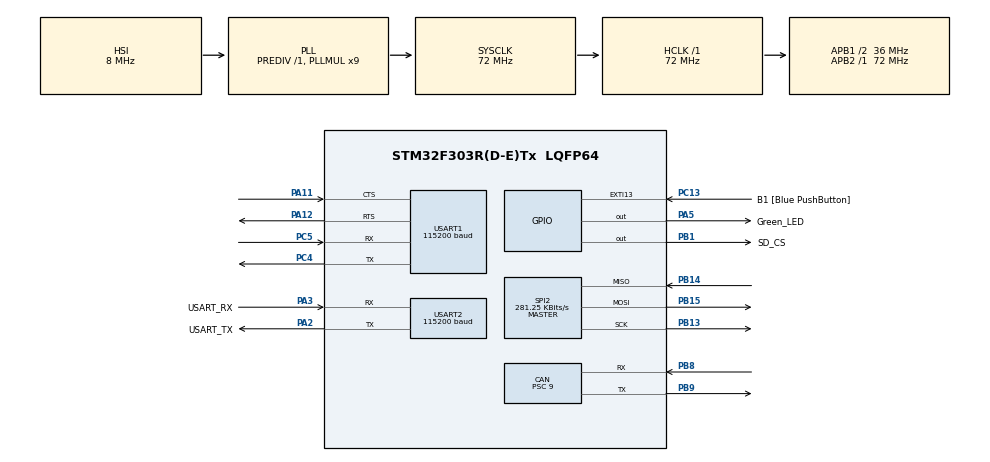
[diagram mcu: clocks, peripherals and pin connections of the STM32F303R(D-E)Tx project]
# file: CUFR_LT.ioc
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CAN.BS1=CAN_BS1_13TQ
CAN.BS2=CAN_BS2_2TQ
CAN.CalculateBaudRate=250000
CAN.CalculateTimeBit=4000
CAN.CalculateTimeQuantum=250.0
CAN.Prescaler=9
Mcu.Family=STM32F3
Mcu.Name=STM32F303R(D-E)Tx
Mcu.Package=LQFP64
NVIC.PriorityGroup=NVIC_PRIORITYGROUP_0
PA11.Mode=CTS_RTS
PA11.Signal=USART1_CTS
PA12.Mode=CTS_RTS
PA12.Signal=USART1_RTS
PA13.GPIO_Label=TMS
PA13.Mode=Serial_Wire
PA13.Signal=SYS_JTMS-SWDIO
PA14.GPIO_Label=TCK
PA14.Mode=Serial_Wire
PA14.Signal=SYS_JTCK-SWCLK
PA2.GPIO_Label=USART_TX
PA2.GPIO_Mode=GPIO_MODE_AF_PP
PA2.GPIO_PuPd=GPIO_NOPULL
PA2.GPIO_Speed=GPIO_SPEED_FREQ_LOW
PA2.Mode=Asynchronous
PA2.Signal=USART2_TX
PA3.GPIO_Label=USART_RX
PA3.GPIO_Mode=GPIO_MODE_AF_PP
PA3.GPIO_PuPd=GPIO_NOPULL
PA3.GPIO_Speed=GPIO_SPEED_FREQ_LOW
PA3.Mode=Asynchronous
PA3.Signal=USART2_RX
PA5.GPIO_Label=Green_LED
PA5.GPIO_Mode=GPIO_MODE_OUTPUT_PP
PA5.GPIO_PuPd=GPIO_NOPULL
PA5.GPIO_Speed=GPIO_SPEED_FREQ_LOW
PA5.Signal=GPIO_Output
PB1.GPIO_Label=SD_CS
PB1.Signal=GPIO_Output
PB13.Mode=Full_Duplex_Master
PB13.Signal=SPI2_SCK
PB14.Mode=Full_Duplex_Master
PB14.Signal=SPI2_MISO
PB15.Mode=Full_Duplex_Master
PB15.Signal=SPI2_MOSI
PB3.GPIO_Label=SWO
PB3.Signal=SYS_JTDO-TRACESWO
PB8.Mode=CAN_Activate
PB8.Signal=CAN_RX
PB9.Mode=CAN_Activate
PB9.Signal=CAN_TX
PC13.GPIO_Label=B1 [Blue PushButton]
PC13.GPIO_ModeDefaultEXTI=GPIO_MODE_IT_FALLING
PC13.Signal=GPXTI13
PC14-OSC32_IN.Mode=LSE-External-Oscillator
PC14-OSC32_IN.Signal=RCC_OSC32_IN
PC15-OSC32_OUT.Mode=LSE-External-Oscillator
PC15-OSC32_OUT.Signal=RCC_OSC32_OUT
PC4.Mode=Asynchronous
PC4.Signal=USART1_TX
PC5.Mode=Asynchronous
PC5.Signal=USART1_RX
PF0-OSC_IN.Mode=HSE-External-Clock-Source
PF0-OSC_IN.Signal=RCC_OSC_IN
PF1-OSC_OUT.Signal=RCC_OSC_OUT
ProjectManager.HeapSize=0x200
ProjectManager.StackSize=0x400
ProjectManager.TargetToolchain=STM32CubeIDE
RCC.AHBFreq_Value=72000000
RCC.APB1CLKDivider=RCC_HCLK_DIV2
RCC.APB1Freq_Value=36000000
RCC.APB1TimFreq_Value=72000000
RCC.APB2Freq_Value=72000000
RCC.APB2TimFreq_Value=72000000
RCC.CortexFreq_Value=72000000
RCC.HCLKFreq_Value=72000000
RCC.HSE_VALUE=8000000
RCC.HSI_VALUE=8000000
RCC.PLLM=8
RCC.PLLMUL=RCC_PLL_MUL9
RCC.PLLN=336
RCC.PLLP=RCC_PLLP_DIV4
RCC.PLLQ=7
RCC.RCC_PLLsource_Clock_Source_FROM_HSE=RCC_HSE_PREDIV_DIV2
RCC.SYSCLKFreq_VALUE=72000000
RCC.SYSCLKSourceVirtual=RCC_SYSCLKSOURCE_PLLCLK
RCC.USBFreq_Value=72000000
SPI2.BaudRatePrescaler=SPI_BAUDRATEPRESCALER_128
SPI2.CalculateBaudRate=281.25 KBits/s
SPI2.DataSize=SPI_DATASIZE_8BIT
SPI2.Direction=SPI_DIRECTION_2LINES
SPI2.Mode=SPI_MODE_MASTER
SPI2.VirtualType=VM_MASTER
USART1.BaudRate=115200
USART1.VirtualMode-Asynchronous=VM_ASYNC
USART2.BaudRate=115200
USART2.VirtualMode-Asynchronous=VM_ASYNC
VP_FATFS_VS_Generic.Mode=User_defined
board=NUCLEO-F303RE

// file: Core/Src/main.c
/* USER CODE BEGIN Header */
/**
  ******************************************************************************
  * @file           : main.c
  * @brief          : Main program body
  ******************************************************************************
  * @attention
  *
  * Copyright (c) 2025 STMicroelectronics.
  * All rights reserved.
  *
  * This software is licensed under terms that can be found in the LICENSE file
  * in the root directory of this software component.
  * If no LICENSE file comes with this software, it is provided AS-IS.
  *
  ******************************************************************************
  */
/* USER CODE END Header */
#include "main.h"
#include "fatfs.h"

/* USER CODE BEGIN Includes */
#include <stdio.h>
#include <stdint.h>
#include <string.h> //for myprintf
#include <stdarg.h> //for myprintf
/* USER CODE END Includes */

/* USER CODE BEGIN PTD */
struct can_msg {
    uint16_t id; //2 bytes
    unsigned char pkt; //1 byte
    uint8_t start; //start byte in the packet, 1 byte
    uint8_t len; //number of bytes of data, 1 byte
    unsigned char bits[3]; //3 bytes (1 bit for whether each bytes enabled--max payload = 22 bytes --> 3 needed)
    uint8_t lts; //number of bytes to send, 1 byte
    uint8_t idx;
};

struct msg_type {
    unsigned char id; //1 byte
    uint8_t data_len; //in bytes, 1 byte
    int speed; //speed to send in ms
    uint8_t num_messages;
    int len;
};

/* USER CODE END PTD */

CAN_HandleTypeDef hcan;

SPI_HandleTypeDef hspi2;

UART_HandleTypeDef huart1;
UART_HandleTypeDef huart2;

/* USER CODE BEGIN PV */
HAL_StatusTypeDef ok_notok = HAL_BUSY;
uint8_t CMD0 [] = {0x40,0x00,0x00, 0x00, 0x00, 0x95};
uint8_t high [] = {0xFF, 0xFF, 0xFF, 0xFF, 0xFF, 0xFF, 0xFF, 0xFF, 0xFF, 0xFF};
uint8_t CMD1 [] = {0x41,0x00,0x00, 0x00, 0x00, 0x79};
uint8_t CMD8 [] = {0x48, 0x00, 0x00, 0x01, 0xAA, 0x87};
uint8_t CMD55 [] = {0x77, 0x00, 0x00, 0x00, 0x00, 0x65};
uint8_t ACMD41 [] = {0x69, 0x40, 0x00, 0x00, 0x00, 0x77};
uint8_t highByte [] = {0xFF};

uint8_t CMD0_Response [2]; //8 (max wait) + 2 (payload)
uint8_t CMD1_Response [2];
uint8_t CMD8_Response [7];
uint8_t CMD55_Response [2];
uint8_t ACMD41_Response [2];
int count = 0;

CAN_RxHeaderTypeDef   RxHeader;
uint8_t               RxData[8];
/* USER CODE END PV */

void SystemClock_Config(void);
static void MX_GPIO_Init(void);
static void MX_USART2_UART_Init(void);
static void MX_CAN_Init(void);
static void MX_USART1_UART_Init(void);
static void MX_SPI2_Init(void);
/* USER CODE BEGIN PFP */
void myprintf(const char *fmt, ...);
int process_line(char* msg, struct can_msg* msg_table, int counter);
void get_msg_type_details(char* buffer);
int acdm55(void);
void configure_sd(void);
/* USER CODE END PFP */

/* USER CODE BEGIN 0 */
void myprintf(const char *fmt, ...) {
  static char buffer[256];
  va_list args;
  va_start(args, fmt);
  vsnprintf(buffer, sizeof(buffer), fmt, args);
  va_end(args);

  int len = strlen(buffer);
  HAL_UART_Transmit(&huart2, (uint8_t*)buffer, len, -1);

}

int acdm55(void) {
	ok_notok = HAL_SPI_Transmit(&hspi2, highByte, 1, 1000);
	ok_notok = HAL_SPI_Transmit(&hspi2, highByte, 1, 1000);
	ok_notok = HAL_SPI_Transmit(&hspi2, CMD55, 6, 1000); //Sending in Blocking mode
		HAL_Delay(10);
		HAL_SPI_Receive(&hspi2, CMD55_Response, 2, 1000);
		//HAL_Delay(1000);
		count = 0;
		while(count < 20 && CMD55_Response[0] != 0x0 && CMD55_Response[1] != 0x1){
				count++;
				for(int i = 0; i<2; i++){
							  myprintf("(%x)", CMD55_Response[i]);
						  }
				myprintf("\r\n");
			  ok_notok = HAL_SPI_Transmit(&hspi2, CMD55, 6, 1000); //Sending in Blocking mode
			  HAL_Delay(10);
			  HAL_SPI_Receive(&hspi2, CMD55_Response, 2, 1000);
		}
		if(count == 20){
			//myprintf("CMD 55 Timeout \r\n");
				return 0;
			}
		myprintf("CMD55: ");
		for(int i = 0; i<2; i++){
				  myprintf("(%x)", CMD55_Response[i]);
			  }
		myprintf("\r\n");
		ok_notok = HAL_SPI_Transmit(&hspi2, highByte, 1, 1000);
		ok_notok = HAL_SPI_Transmit(&hspi2, highByte, 1, 1000);
		//ACMD41
		ok_notok = HAL_SPI_Transmit(&hspi2, ACMD41, 6, 1000); //Sending in Blocking mode
		HAL_Delay(100);
		HAL_SPI_Receive(&hspi2, ACMD41_Response, 2, 1000);
		count = 0;
		if(ACMD41_Response[0] != 0x0 && ACMD41_Response[1] != 0x0)
		{
			myprintf("ACMD41 Fail once: ");
			for(int i = 0; i<2; i++){
				myprintf("(%x)", ACMD41_Response[i]);
			}
			myprintf("\r\n");
			return 0;
		}
		myprintf("ACMD41: ");
		for(int i = 0; i<2; i++){
				  myprintf("(%x)", ACMD41_Response[i]);
			  }
		myprintf("\r\n");
		return 1;
}

void configure_sd(void) {

	HAL_GPIO_WritePin(GPIOB, SD_CS_Pin, SET);
	ok_notok = HAL_SPI_Transmit(&hspi2, high, 10, 1000); //Sending in Blocking mode
	HAL_GPIO_WritePin(GPIOB, SD_CS_Pin, RESET);
	//HAL_GPIO_WritePin(GPIOA, Green_LED_Pin, SET);
	//		  ok_notok = HAL_UART_Transmit(&huart2, (uint8_t *)hw, len, 100);

	//CMD0:
	ok_notok = HAL_SPI_Transmit(&hspi2, CMD0, 6, 1000); //Sending in Blocking mode
	HAL_Delay(100);
	HAL_SPI_Receive(&hspi2, CMD0_Response, 2, 1000);
	count = 0;
	while(CMD0_Response[1] != 0x1 && count < 20){
	  count++;
	  myprintf("0 Failed once: \r\n");
	  ok_notok = HAL_SPI_Transmit(&hspi2, CMD0, 6, 1000); //Sending in Blocking mode
	  HAL_Delay(100);
	  HAL_SPI_Receive(&hspi2, CMD0_Response, 2, 1000);
	}
	if(count == 20){
		myprintf("Timeout \r\n");
		return;
	}
	myprintf("CMD0: ");
	for(int i = 0; i<2; i++){
			  myprintf("(%x)", CMD0_Response[i]);
		  }
	myprintf("\r\n");
	//HAL_Delay(100);
	ok_notok = HAL_SPI_Transmit(&hspi2, highByte, 1, 1000);
	ok_notok = HAL_SPI_Transmit(&hspi2, highByte, 1, 1000);

	//CMD8:
	ok_notok = HAL_SPI_Transmit(&hspi2, CMD8, 6, 1000); //Sending in Blocking mode
	HAL_Delay(100);
	HAL_SPI_Receive(&hspi2, CMD8_Response, 7, 1000);
	//HAL_Delay(1000);
	count = 0;
	while(count < 20 && (CMD8_Response[1] != 0x1 || CMD8_Response[5] != 0xAA)){
			count++;
			  myprintf("8 Failed once: \r\n");
			  for(int i = 0; i<7; i++){
			  			  myprintf("(%x)", CMD8_Response[i]);
			  		  }
			  ok_notok = HAL_SPI_Transmit(&hspi2, CMD8, 6, 1000); //Sending in Blocking mode
			  HAL_Delay(100);
			  HAL_SPI_Receive(&hspi2, CMD8_Response, 7, 1000);
	}
	if(count == 20){
		myprintf("Timeout \r\n");
			return;
		}
	myprintf("CMD8: ");
	for(int i = 0; i<7; i++){
			  myprintf("(%x)", CMD8_Response[i]);
		  }
	myprintf("\r\n");
	ok_notok = HAL_SPI_Transmit(&hspi2, highByte, 1, 1000);
	ok_notok = HAL_SPI_Transmit(&hspi2, highByte, 1, 1000);

	//CMD55:
	int counter = 0;
	int worked = acdm55();
	myprintf("Worked: (%i)\r\n", worked);
	while(worked == 0 && counter<20){
			worked = acdm55();
			//myprintf("Worked: (%i)\r\n", worked);
			counter++;
			//myprintf("Count: (%x)\r\n", count);
			if(worked==1){
				myprintf("yay!\r\n");
			}
	}
	myprintf("Count: %i\r\n", counter);
	myprintf("Worked: %i\r\n", worked);
	if(counter==20){
		myprintf("Timeout\r\n");
		return;
	}

	myprintf("End of Start Up\r\n");
	if(ok_notok == HAL_OK){
	  HAL_GPIO_WritePin(GPIOA, Green_LED_Pin, SET);
	}
	HAL_Delay(1000);
	HAL_GPIO_WritePin(GPIOA, Green_LED_Pin, RESET);
	HAL_GPIO_WritePin(GPIOB, SD_CS_Pin, SET);
}

struct msg_type med;
struct msg_type fast;
struct msg_type stat;

int process_line(char* msg, struct can_msg* msg_table, int counter) {
    struct can_msg M = { 0 };
    M.id = 0;
    M.id |= msg[0] << 8;
    M.id |= msg[1];
    M.pkt = msg[2];
    M.start = msg[3];
    M.len = msg[4];
    M.bits[0] = msg[5];
    M.bits[1] = msg[6];
    M.bits[2] = msg[7];
    M.lts = msg[8];
    M.idx = msg[9];
    msg_table[counter] = M;
    return counter++;
}

void get_msg_type_details(char* buffer) {
    uint8_t s;

    //Get the details for the medium speed message
    med.id = buffer[1];
    med.data_len = buffer[2];
    s = buffer[3];
    med.speed = 10 * (int)s;
    med.num_messages = buffer[4];
    med.len = med.data_len + 3;

    myprintf("Med\r\n");
    myprintf("id: %c\r\n", med.id);
    myprintf("data_len: %u\r\n", med.data_len);
    myprintf("speed: %i\r\n", med.speed);
    myprintf("num_messages: %u\r\n", med.num_messages);

    //Get the details for the fast speed message
    fast.id = buffer[5];
    fast.data_len = buffer[6];
    s = buffer[7];
    fast.speed = 10 * (int)s;
    fast.num_messages = buffer[8];
    fast.len = fast.data_len + 3;

    myprintf("Fast\r\n");
    myprintf("id: %c\r\n", fast.id);
    myprintf("data_len: %u\r\n", fast.data_len);
    myprintf("speed: %i\r\n", fast.speed);
    myprintf("num_messages: %u\r\n", fast.num_messages);

    //Get the details for the stat speed message
    stat.id = buffer[9];
    stat.data_len = buffer[10];
    s = buffer[11];
    stat.speed = 10 * (int)s;
    stat.num_messages = buffer[12];
    stat.len = stat.data_len + 3;

    myprintf("Stat\r\n");
    myprintf("id: %c\r\n", stat.id);
    myprintf("data_len: %u\r\n", stat.data_len);
    myprintf("speed: %i\r\n", stat.speed);
    myprintf("num_messages: %u\r\n", stat.num_messages);
}

/* USER CODE END 0 */

int main(void)
{

  /* MCU Configuration--------------------------------------------------------*/

  /* Reset of all peripherals, Initializes the Flash interface and the Systick. */
  HAL_Init();

  /* Configure the system clock */
  SystemClock_Config();

  /* Initialize all configured peripherals */
  MX_GPIO_Init();
  MX_USART2_UART_Init();
  MX_CAN_Init();
  MX_USART1_UART_Init();
  MX_SPI2_Init();
  MX_FATFS_Init();
  /* USER CODE BEGIN 2 */
  myprintf("\r\n~ Starting LT~\r\n\r\n");
  configure_sd();
  HAL_Delay(1000); //a short delay is important to let the SD card settle
  //some variables for FatFs
  FATFS FatFs; 	//Fatfs handle
  FIL fil; 		//File handle
  FRESULT fres; //Result after operations

  //Set Up CAN
  CAN_FilterTypeDef canfilterconfig;
  canfilterconfig.FilterActivation = CAN_FILTER_ENABLE;
  canfilterconfig.FilterBank = 8;  // which filter bank to use from the assigned ones
  canfilterconfig.FilterFIFOAssignment = CAN_FILTER_FIFO0;
  canfilterconfig.FilterIdHigh = 0x446<<5;
  canfilterconfig.FilterIdLow = 0;
  canfilterconfig.FilterMaskIdHigh = 0x0000;
  canfilterconfig.FilterMaskIdLow = 0x0000;
  canfilterconfig.FilterMode = CAN_FILTERMODE_IDMASK;
  canfilterconfig.FilterScale = CAN_FILTERSCALE_32BIT;
  canfilterconfig.SlaveStartFilterBank = 14;  // how many filters to assign to the CAN1 (master can)

  HAL_CAN_ConfigFilter(&hcan, &canfilterconfig);
  HAL_StatusTypeDef ret = HAL_CAN_Start(&hcan);
  if(ret != HAL_OK){
  	  myprintf("\rinit error\r\n\r\n");
    }
    else
    {
  	  myprintf("\rinitialised\r\n\r\n");
    }

  //Open the file system
  myprintf("\r\nInitialising SD CARD\r\n\r\n");
  int init_tries = 0;
  fres = f_mount(&FatFs, "", 1); //1=mount now
  while(fres != FR_OK && init_tries<5){
	myprintf("Trying Again\r\n");
	init_tries++;
	fres = f_mount(&FatFs, "", 1); //1=mount now
  }
  if (fres != FR_OK) {
	myprintf("f_mount error (%i)\r\n", fres);
	while(1){
		HAL_GPIO_TogglePin(GPIOA, Green_LED_Pin);
		HAL_Delay(500);
		HAL_GPIO_TogglePin(GPIOA, Green_LED_Pin);
		HAL_Delay(100);
	}
  }
  myprintf("\r\nSD CARD Initialised!\r\n\r\n");

  char buffer[255];
  char *filename = "settings.bin";

  fres = f_open(&fil, filename, FA_READ);
  if (fres != FR_OK) {
	myprintf("f_open error (%i)\r\n", fres);
	myprintf("unable to open file");
  }
  else{
	myprintf("Settings File opened!\r\n");
  }

  //get number of messages
  UINT bytes_read;
  fres = f_read(&fil, buffer, 13, &bytes_read);
  if(bytes_read == 0) {
	myprintf("f_read error (%i)\r\n", fres);
  }
  uint8_t num_msgs = buffer[0];
  myprintf("num messages: %u\r\n", num_msgs);

  struct can_msg table[num_msgs];
  //Get message types
  get_msg_type_details(buffer);

  //get individual message details
  myprintf("Getting individual msg details\r\n");
  for (int counter = 0; counter < num_msgs; counter++) {
      f_read(&fil, buffer, 10, &bytes_read);
      process_line(buffer, table, counter);
  }
  f_close(&fil);

  myprintf("\r\nMessage Information Loaded\r\n");

  /* USER CODE END 2 */

  /* Infinite loop */
  /* USER CODE BEGIN WHILE */

  //remove once CAN works
//  filename = "fake_can.bin";
//  fres = f_open(&fil, filename, FA_READ);
//	if (fres != FR_OK) {
//		myprintf("f_open error (%i)\r\n", fres);
//		myprintf("unable to open fake messages file");
//	}
//	else{
//		myprintf("Msg File opened!\r\n");
//	}
//
//    //get number of messages
//    fres = f_read(&fil, buffer, 1, &bytes_read);
//    if(bytes_read == 0) {
//  	myprintf("f_read error (%i)\r\n", fres);
//    }
//    uint8_t num_csv_msgs = buffer[0];
//    myprintf("num messages: %u\r\n", num_csv_msgs);

    //int msg_ctr = 0;
    struct can_msg msg_type;
    struct can_msg null_msg;
    null_msg.id = 0;
    uint32_t fill_level = 0;

    uint32_t stat_last_time = HAL_GetTick();
    uint32_t fast_last_time = HAL_GetTick();
    uint32_t med_last_time = HAL_GetTick();
    uint32_t curr_time;

    uint8_t stat_pkt[stat.data_len+3];
    uint8_t stat_pkt_last[stat.data_len+3];
    stat_pkt[0] = stat.id;
    uint8_t med_pkt[med.data_len+3];
    med_pkt[0] = med.id;
    uint8_t fast_pkt[fast.data_len+3];
    fast_pkt[0] = fast.id;

    uint8_t *curr_pkt;
    uint8_t send_stat = 0;

    stat_pkt[1] = stat_pkt[2] = 0;
    med_pkt[1] = med_pkt[2] = 0;
    fast_pkt[1] = fast_pkt[2] = 0;

  while (1)
  {
	  //	  - check whether there are any CAN messages to be read
	  //	  	  - read a message
	  //	  	  - get the header and search to find the appropriate message (done)
	  //	  	  - add to the relevant packet. Mark bit as being updated
	  //	  	  if(is stat or time since last stat sent > stat time):
	  //	  	  - Send stat
	  //	  	  if(time since last fast sent > fast time):
	  //	  	  - send fast
	  //	  	  -if(time since last med sent > med time):
	  //	  	  - send med
	  //	  	  repeat;

//	  myprintf("Next msg\r\n");
//	  fres = f_read(&fil, buffer, 16, &bytes_read);
//	  if(bytes_read == 0) {
//		myprintf("f_read error (%i)\r\n", fres);
//	  }
//
//	  RxHeader.StdId = 0;
//	  RxHeader.StdId |= buffer[0] << 24;
//	  RxHeader.StdId |= buffer[1] << 16;
//	  RxHeader.StdId |= buffer[2] << 8;
//	  RxHeader.StdId |= buffer[3];
//
//	  RxHeader.DLC = 0;
//	  RxHeader.DLC |= buffer[4] << 24;
//	  RxHeader.DLC |= buffer[5] << 16;
//	  RxHeader.DLC |= buffer[6] << 8;
//	  RxHeader.DLC |= buffer[7];
//
//	  for(int idx = 0; idx<RxHeader.DLC; idx++){
//		 RxData[idx] = buffer[8+idx];
//	  }
//
//	  myprintf("(%x) (%i) ", RxHeader.StdId, RxHeader.DLC);
//	  for(int idx = 0; idx<RxHeader.DLC; idx++){
//		  myprintf("(%x)", RxData[idx]);
//	  	  }
//	  myprintf("\r\n");

	  fill_level = HAL_CAN_GetRxFifoFillLevel(&hcan, CAN_RX_FIFO0);
	  if(fill_level !=0){
		 if (HAL_CAN_GetRxMessage(&hcan, CAN_RX_FIFO0, &RxHeader, RxData) != HAL_OK)
		 {
				 myprintf("No msg found\r\n\r\n");
		  }else {

		  //Check which message was received
		  	  msg_type = null_msg;
		  	  for(int idx =0; idx<num_msgs; idx++){
		  		  if(RxHeader.StdId == table[idx].id){
		  			  msg_type = table[idx];
		  			  break;
		  		  }
		  	  }

		  	  if(msg_type.id != 0)
		  	  {
		  		  myprintf("(%x) (%c)\r\n", msg_type.id, msg_type.pkt);
		  	  }
		  	  else{
		  		  myprintf("Corresponding message not found\r\n");
		  	  }

		  	  curr_pkt = NULL;

		  	  //Sets the curr_pkt pointer to the correct packet
		  	  if(msg_type.pkt == fast.id)
		  	  {
		  		  curr_pkt = fast_pkt;
		  	  } else if(msg_type.pkt == med.id){
		  		  curr_pkt = med_pkt;
		  	  } else if(msg_type.pkt == stat.id){
		  		  curr_pkt = stat_pkt;
		  	  }

		  	  //Check if the stat_pkt has changed
		  	  if(msg_type.pkt == stat.id){
		  		  for(int idx = 0; idx<msg_type.lts; idx++){
		  			  if(curr_pkt[msg_type.start+idx] != stat_pkt_last[idx])
		  			  {
		  				  send_stat = 1;
		  				  myprintf("Stat changed!!\r\n");
		  			  }
		  		  }
		  	  }

		  	  //Marks the set bit
		  	  if(curr_pkt != NULL && msg_type.idx < 8){
		  		  curr_pkt[1] |= 1U << (7-msg_type.idx);
		  		  //myprintf("1(%u)\r\n", curr_pkt[1]);
		  	  } else if (curr_pkt != NULL){
		  		  curr_pkt[2] |= 1U << (15-msg_type.idx);
		  		  //myprintf("2(%u)\r\n", curr_pkt[2]);
		  	  }

		  	  //Adds the message's data to the packet
		  	  if(curr_pkt != NULL){
		  		  for(int idx = 0; idx<msg_type.lts; idx++){
		  			  curr_pkt[msg_type.start+idx] = RxData[idx];
		  		  }
		  	  }
		  }
	  }

	  //Checks which messages to send
	  curr_time = HAL_GetTick();
	  if(send_stat == 1 || curr_time - stat_last_time > stat.speed*100){
		  send_stat = 0;
		  ok_notok = HAL_UART_Transmit(&huart1, stat_pkt, stat.data_len+3, 100);
		  for(int idx = 0; idx<stat.data_len+3; idx++){
		  			  myprintf("%2x", stat_pkt[idx]);
		  		  }
		  myprintf("\r\n");
		  myprintf("lts: (%i)\r\n", stat.data_len+3);
		  myprintf("Stat sent!!\r\n");
		  stat_pkt[1] = 0;
		  stat_pkt[2] = 0;
		  stat_last_time = curr_time;
	  }

	  if(curr_time - fast_last_time > fast.speed*100){
		  ok_notok = HAL_UART_Transmit(&huart1, fast_pkt, fast.data_len+3, 100);
		  for(int idx = 0; idx<fast.data_len+3; idx++){
			  myprintf("%2x", fast_pkt[idx]);
		  }
		  myprintf("\r\n");
		  myprintf("Fast sent!!\r\n");
		  med_pkt[1] = 0;
		  med_pkt[2] = 0;
		  fast_last_time = curr_time;
	  }

	  if(curr_time - med_last_time > med.speed*100){
		  ok_notok = HAL_UART_Transmit(&huart1, med_pkt, med.data_len+3, 100);
		  med_pkt[1] = 0;
		  med_pkt[2] = 0;
		  med_last_time = curr_time;
	  }

	  //Remove once CAN works
//	  	  msg_ctr++;
//	  	  if(msg_ctr == num_csv_msgs)
//	  	  {
//	  		msg_ctr = 0;
//	  		fres = f_lseek(&fil, 1);
//	  	  }
//	  	  HAL_Delay(1000);
    /* USER CODE END WHILE */

  }
}

void SystemClock_Config(void)
{
  RCC_OscInitTypeDef RCC_OscInitStruct = {0};
  RCC_ClkInitTypeDef RCC_ClkInitStruct = {0};
  RCC_PeriphCLKInitTypeDef PeriphClkInit = {0};

  /** Initializes the RCC Oscillators according to the specified parameters
  * in the RCC_OscInitTypeDef structure.
  */
  RCC_OscInitStruct.OscillatorType = RCC_OSCILLATORTYPE_HSI;
  RCC_OscInitStruct.HSIState = RCC_HSI_ON;
  RCC_OscInitStruct.HSICalibrationValue = RCC_HSICALIBRATION_DEFAULT;
  RCC_OscInitStruct.PLL.PLLState = RCC_PLL_ON;
  RCC_OscInitStruct.PLL.PLLSource = RCC_PLLSOURCE_HSI;
  RCC_OscInitStruct.PLL.PLLMUL = RCC_PLL_MUL9;
  RCC_OscInitStruct.PLL.PREDIV = RCC_PREDIV_DIV1;
  if (HAL_RCC_OscConfig(&RCC_OscInitStruct) != HAL_OK)
  {
    Error_Handler();
  }

  /** Initializes the CPU, AHB and APB buses clocks
  */
  RCC_ClkInitStruct.ClockType = RCC_CLOCKTYPE_HCLK|RCC_CLOCKTYPE_SYSCLK
                              |RCC_CLOCKTYPE_PCLK1|RCC_CLOCKTYPE_PCLK2;
  RCC_ClkInitStruct.SYSCLKSource = RCC_SYSCLKSOURCE_PLLCLK;
  RCC_ClkInitStruct.AHBCLKDivider = RCC_SYSCLK_DIV1;
  RCC_ClkInitStruct.APB1CLKDivider = RCC_HCLK_DIV2;
  RCC_ClkInitStruct.APB2CLKDivider = RCC_HCLK_DIV1;

  if (HAL_RCC_ClockConfig(&RCC_ClkInitStruct, FLASH_LATENCY_2) != HAL_OK)
  {
    Error_Handler();
  }
  PeriphClkInit.PeriphClockSelection = RCC_PERIPHCLK_USART1|RCC_PERIPHCLK_USART2;
  PeriphClkInit.Usart1ClockSelection = RCC_USART1CLKSOURCE_PCLK2;
  PeriphClkInit.Usart2ClockSelection = RCC_USART2CLKSOURCE_PCLK1;
  if (HAL_RCCEx_PeriphCLKConfig(&PeriphClkInit) != HAL_OK)
  {
    Error_Handler();
  }
}

static void MX_CAN_Init(void)
{

  hcan.Instance = CAN;
  hcan.Init.Prescaler = 9;
  hcan.Init.Mode = CAN_MODE_NORMAL;
  hcan.Init.SyncJumpWidth = CAN_SJW_1TQ;
  hcan.Init.TimeSeg1 = CAN_BS1_13TQ;
  hcan.Init.TimeSeg2 = CAN_BS2_2TQ;
  hcan.Init.TimeTriggeredMode = DISABLE;
  hcan.Init.AutoBusOff = DISABLE;
  hcan.Init.AutoWakeUp = DISABLE;
  hcan.Init.AutoRetransmission = DISABLE;
  hcan.Init.ReceiveFifoLocked = DISABLE;
  hcan.Init.TransmitFifoPriority = DISABLE;
  if (HAL_CAN_Init(&hcan) != HAL_OK)
  {
    Error_Handler();
  }

}

static void MX_SPI2_Init(void)
{

  /* SPI2 parameter configuration*/
  hspi2.Instance = SPI2;
  hspi2.Init.Mode = SPI_MODE_MASTER;
  hspi2.Init.Direction = SPI_DIRECTION_2LINES;
  hspi2.Init.DataSize = SPI_DATASIZE_8BIT;
  hspi2.Init.CLKPolarity = SPI_POLARITY_LOW;
  hspi2.Init.CLKPhase = SPI_PHASE_1EDGE;
  hspi2.Init.NSS = SPI_NSS_SOFT;
  hspi2.Init.BaudRatePrescaler = SPI_BAUDRATEPRESCALER_128;
  hspi2.Init.FirstBit = SPI_FIRSTBIT_MSB;
  hspi2.Init.TIMode = SPI_TIMODE_DISABLE;
  hspi2.Init.CRCCalculation = SPI_CRCCALCULATION_DISABLE;
  hspi2.Init.CRCPolynomial = 7;
  hspi2.Init.CRCLength = SPI_CRC_LENGTH_DATASIZE;
  hspi2.Init.NSSPMode = SPI_NSS_PULSE_ENABLE;
  if (HAL_SPI_Init(&hspi2) != HAL_OK)
  {
    Error_Handler();
  }

}

static void MX_USART1_UART_Init(void)
{

  huart1.Instance = USART1;
  huart1.Init.BaudRate = 115200;
  huart1.Init.WordLength = UART_WORDLENGTH_8B;
  huart1.Init.StopBits = UART_STOPBITS_1;
  huart1.Init.Parity = UART_PARITY_NONE;
  huart1.Init.Mode = UART_MODE_TX_RX;
  huart1.Init.HwFlowCtl = UART_HWCONTROL_RTS_CTS;
  huart1.Init.OverSampling = UART_OVERSAMPLING_16;
  huart1.Init.OneBitSampling = UART_ONE_BIT_SAMPLE_DISABLE;
  huart1.AdvancedInit.AdvFeatureInit = UART_ADVFEATURE_NO_INIT;
  if (HAL_UART_Init(&huart1) != HAL_OK)
  {
    Error_Handler();
  }

}

static void MX_USART2_UART_Init(void)
{

  huart2.Instance = USART2;
  huart2.Init.BaudRate = 115200;
  huart2.Init.WordLength = UART_WORDLENGTH_8B;
  huart2.Init.StopBits = UART_STOPBITS_1;
  huart2.Init.Parity = UART_PARITY_NONE;
  huart2.Init.Mode = UART_MODE_TX_RX;
  huart2.Init.HwFlowCtl = UART_HWCONTROL_NONE;
  huart2.Init.OverSampling = UART_OVERSAMPLING_16;
  huart2.Init.OneBitSampling = UART_ONE_BIT_SAMPLE_DISABLE;
  huart2.AdvancedInit.AdvFeatureInit = UART_ADVFEATURE_NO_INIT;
  if (HAL_UART_Init(&huart2) != HAL_OK)
  {
    Error_Handler();
  }

}

static void MX_GPIO_Init(void)
{
  GPIO_InitTypeDef GPIO_InitStruct = {0};

  /* GPIO Ports Clock Enable */
  __HAL_RCC_GPIOC_CLK_ENABLE();
  __HAL_RCC_GPIOF_CLK_ENABLE();
  __HAL_RCC_GPIOA_CLK_ENABLE();
  __HAL_RCC_GPIOB_CLK_ENABLE();

  /*Configure GPIO pin Output Level */
  HAL_GPIO_WritePin(Green_LED_GPIO_Port, Green_LED_Pin, GPIO_PIN_RESET);

  /*Configure GPIO pin Output Level */
  HAL_GPIO_WritePin(SD_CS_GPIO_Port, SD_CS_Pin, GPIO_PIN_RESET);

  /*Configure GPIO pin : B1_Pin */
  GPIO_InitStruct.Pin = B1_Pin;
  GPIO_InitStruct.Mode = GPIO_MODE_IT_FALLING;
  GPIO_InitStruct.Pull = GPIO_NOPULL;
  HAL_GPIO_Init(B1_GPIO_Port, &GPIO_InitStruct);

  /*Configure GPIO pin : Green_LED_Pin */
  GPIO_InitStruct.Pin = Green_LED_Pin;
  GPIO_InitStruct.Mode = GPIO_MODE_OUTPUT_PP;
  GPIO_InitStruct.Pull = GPIO_NOPULL;
  GPIO_InitStruct.Speed = GPIO_SPEED_FREQ_LOW;
  HAL_GPIO_Init(Green_LED_GPIO_Port, &GPIO_InitStruct);

  /*Configure GPIO pin : SD_CS_Pin */
  GPIO_InitStruct.Pin = SD_CS_Pin;
  GPIO_InitStruct.Mode = GPIO_MODE_OUTPUT_PP;
  GPIO_InitStruct.Pull = GPIO_NOPULL;
  GPIO_InitStruct.Speed = GPIO_SPEED_FREQ_LOW;
  HAL_GPIO_Init(SD_CS_GPIO_Port, &GPIO_InitStruct);

}

void Error_Handler(void)
{
  __disable_irq();
  while (1)
  {
  }
}
